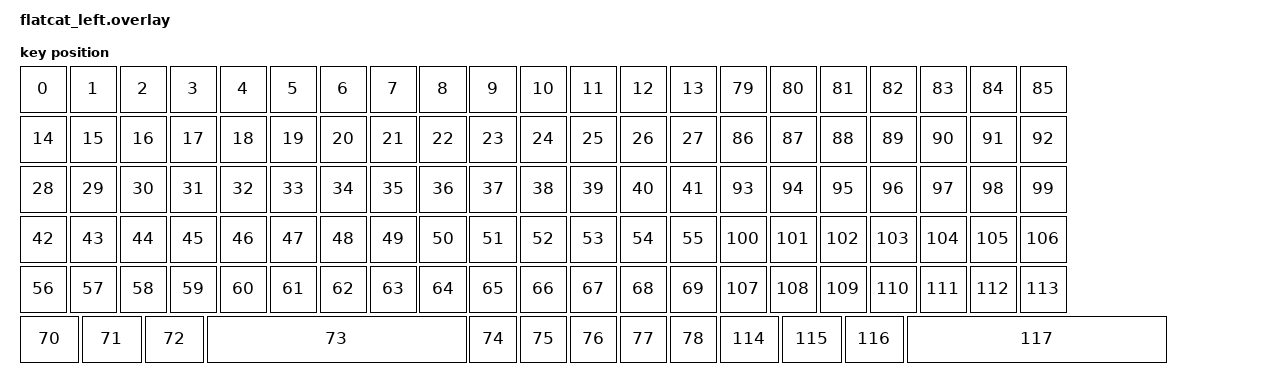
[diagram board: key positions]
#include "flatcat_split.dtsi"

/ {
    chosen {
        zmk,physical-layout = &physical_layout0;
    };

    physical_layout0: physical_layout_0 {
        compatible   = "zmk,physical-layout";
        display-name = "Default";
        transform    = <&default_transform>;

        keys  //                     w   h    x    y
            = <&key_physical_attrs  100  100     0     0    0    0    0>
            , <&key_physical_attrs  100  100   100     0    0    0    0>
            , <&key_physical_attrs  100  100   200     0    0    0    0>
            , <&key_physical_attrs  100  100   300     0    0    0    0>
            , <&key_physical_attrs  100  100   400     0    0    0    0>
            , <&key_physical_attrs  100  100   500     0    0    0    0>
            , <&key_physical_attrs  100  100   600     0    0    0    0>
            , <&key_physical_attrs  100  100   700     0    0    0    0>
            , <&key_physical_attrs  100  100   800     0    0    0    0>
            , <&key_physical_attrs  100  100   900     0    0    0    0>
            , <&key_physical_attrs  100  100  1000     0    0    0    0>
            , <&key_physical_attrs  100  100  1100     0    0    0    0>
            , <&key_physical_attrs  100  100  1200     0    0    0    0>
            , <&key_physical_attrs  100  100  1300     0    0    0    0>
            , <&key_physical_attrs  100  100     0   100    0    0    0>
            , <&key_physical_attrs  100  100   100   100    0    0    0>
            , <&key_physical_attrs  100  100   200   100    0    0    0>
            , <&key_physical_attrs  100  100   300   100    0    0    0>
            , <&key_physical_attrs  100  100   400   100    0    0    0>
            , <&key_physical_attrs  100  100   500   100    0    0    0>
            , <&key_physical_attrs  100  100   600   100    0    0    0>
            , <&key_physical_attrs  100  100   700   100    0    0    0>
            , <&key_physical_attrs  100  100   800   100    0    0    0>
            , <&key_physical_attrs  100  100   900   100    0    0    0>
            , <&key_physical_attrs  100  100  1000   100    0    0    0>
            , <&key_physical_attrs  100  100  1100   100    0    0    0>
            , <&key_physical_attrs  100  100  1200   100    0    0    0>
            , <&key_physical_attrs  100  100  1300   100    0    0    0>
            , <&key_physical_attrs  100  100     0   200    0    0    0>
            , <&key_physical_attrs  100  100   100   200    0    0    0>
            , <&key_physical_attrs  100  100   200   200    0    0    0>
            , <&key_physical_attrs  100  100   300   200    0    0    0>
            , <&key_physical_attrs  100  100   400   200    0    0    0>
            , <&key_physical_attrs  100  100   500   200    0    0    0>
            , <&key_physical_attrs  100  100   600   200    0    0    0>
            , <&key_physical_attrs  100  100   700   200    0    0    0>
            , <&key_physical_attrs  100  100   800   200    0    0    0>
            , <&key_physical_attrs  100  100   900   200    0    0    0>
            , <&key_physical_attrs  100  100  1000   200    0    0    0>
            , <&key_physical_attrs  100  100  1100   200    0    0    0>
            , <&key_physical_attrs  100  100  1200   200    0    0    0>
            , <&key_physical_attrs  100  100  1300   200    0    0    0>
            , <&key_physical_attrs  100  100     0   300    0    0    0>
            , <&key_physical_attrs  100  100   100   300    0    0    0>
            , <&key_physical_attrs  100  100   200   300    0    0    0>
            , <&key_physical_attrs  100  100   300   300    0    0    0>
            , <&key_physical_attrs  100  100   400   300    0    0    0>
            , <&key_physical_attrs  100  100   500   300    0    0    0>
            , <&key_physical_attrs  100  100   600   300    0    0    0>
            , <&key_physical_attrs  100  100   700   300    0    0    0>
            , <&key_physical_attrs  100  100   800   300    0    0    0>
            , <&key_physical_attrs  100  100   900   300    0    0    0>
            , <&key_physical_attrs  100  100  1000   300    0    0    0>
            , <&key_physical_attrs  100  100  1100   300    0    0    0>
            , <&key_physical_attrs  100  100  1200   300    0    0    0>
            , <&key_physical_attrs  100  100  1300   300    0    0    0>
            , <&key_physical_attrs  100  100     0   400    0    0    0>
            , <&key_physical_attrs  100  100   100   400    0    0    0>
            , <&key_physical_attrs  100  100   200   400    0    0    0>
            , <&key_physical_attrs  100  100   300   400    0    0    0>
            , <&key_physical_attrs  100  100   400   400    0    0    0>
            , <&key_physical_attrs  100  100   500   400    0    0    0>
            , <&key_physical_attrs  100  100   600   400    0    0    0>
            , <&key_physical_attrs  100  100   700   400    0    0    0>
            , <&key_physical_attrs  100  100   800   400    0    0    0>
            , <&key_physical_attrs  100  100   900   400    0    0    0>
            , <&key_physical_attrs  100  100  1000   400    0    0    0>
            , <&key_physical_attrs  100  100  1100   400    0    0    0>
            , <&key_physical_attrs  100  100  1200   400    0    0    0>
            , <&key_physical_attrs  100  100  1300   400    0    0    0>
            , <&key_physical_attrs  125  100     0   500    0    0    0>
            , <&key_physical_attrs  125  100   125   500    0    0    0>
            , <&key_physical_attrs  125  100   250   500    0    0    0>
            , <&key_physical_attrs  525  100   375   500    0    0    0>
            , <&key_physical_attrs  100  100   900   500    0    0    0>
            , <&key_physical_attrs  100  100  1000   500    0    0    0>
            , <&key_physical_attrs  100  100  1100   500    0    0    0>
            , <&key_physical_attrs  100  100  1200   500    0    0    0>
            , <&key_physical_attrs  100  100  1300   500    0    0    0>
            , <&key_physical_attrs  100  100  1400     0    0    0    0>
            , <&key_physical_attrs  100  100  1500     0    0    0    0>
            , <&key_physical_attrs  100  100  1600     0    0    0    0>
            , <&key_physical_attrs  100  100  1700     0    0    0    0>
            , <&key_physical_attrs  100  100  1800     0    0    0    0>
            , <&key_physical_attrs  100  100  1900     0    0    0    0>
            , <&key_physical_attrs  100  100  2000     0    0    0    0>
            , <&key_physical_attrs  100  100  1400   100    0    0    0>
            , <&key_physical_attrs  100  100  1500   100    0    0    0>
            , <&key_physical_attrs  100  100  1600   100    0    0    0>
            , <&key_physical_attrs  100  100  1700   100    0    0    0>
            , <&key_physical_attrs  100  100  1800   100    0    0    0>
            , <&key_physical_attrs  100  100  1900   100    0    0    0>
            , <&key_physical_attrs  100  100  2000   100    0    0    0>
            , <&key_physical_attrs  100  100  1400   200    0    0    0>
            , <&key_physical_attrs  100  100  1500   200    0    0    0>
            , <&key_physical_attrs  100  100  1600   200    0    0    0>
            , <&key_physical_attrs  100  100  1700   200    0    0    0>
            , <&key_physical_attrs  100  100  1800   200    0    0    0>
            , <&key_physical_attrs  100  100  1900   200    0    0    0>
            , <&key_physical_attrs  100  100  2000   200    0    0    0>
            , <&key_physical_attrs  100  100  1400   300    0    0    0>
            , <&key_physical_attrs  100  100  1500   300    0    0    0>
            , <&key_physical_attrs  100  100  1600   300    0    0    0>
            , <&key_physical_attrs  100  100  1700   300    0    0    0>
            , <&key_physical_attrs  100  100  1800   300    0    0    0>
            , <&key_physical_attrs  100  100  1900   300    0    0    0>
            , <&key_physical_attrs  100  100  2000   300    0    0    0>
            , <&key_physical_attrs  100  100  1400   400    0    0    0>
            , <&key_physical_attrs  100  100  1500   400    0    0    0>
            , <&key_physical_attrs  100  100  1600   400    0    0    0>
            , <&key_physical_attrs  100  100  1700   400    0    0    0>
            , <&key_physical_attrs  100  100  1800   400    0    0    0>
            , <&key_physical_attrs  100  100  1900   400    0    0    0>
            , <&key_physical_attrs  100  100  2000   400    0    0    0>
            , <&key_physical_attrs  125  100  1400   500    0    0    0>
            , <&key_physical_attrs  125  100  1525   500    0    0    0>
            , <&key_physical_attrs  125  100  1650   500    0    0    0>
            , <&key_physical_attrs  525  100  1775   500    0    0    0>
            ;
    };
};
